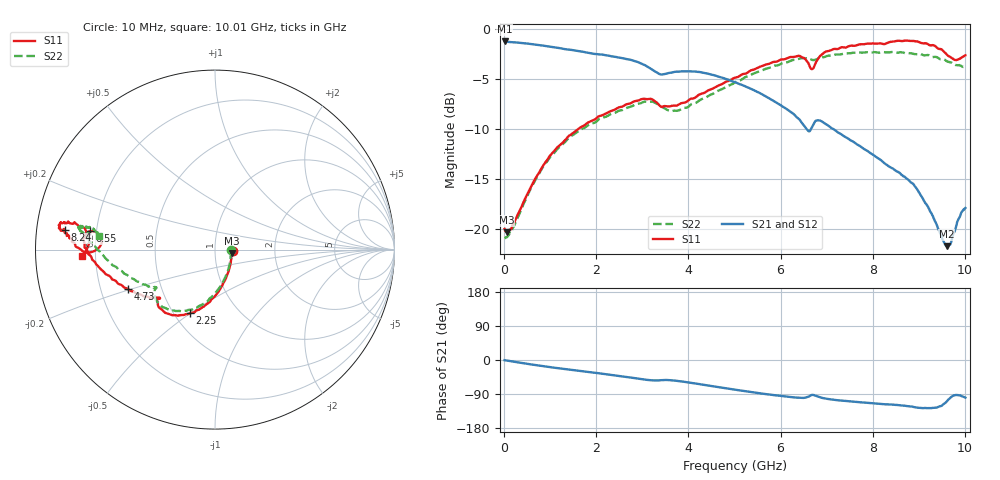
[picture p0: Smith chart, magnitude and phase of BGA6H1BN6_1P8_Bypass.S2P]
!Agilent Technologies,E5071C,MY46317100,A.11.08
!Date: Wed Jun 03 12:55:24 2015
!Data & Calibration Information:
!Freq	S11:SOLT2(ON)	S21:SOLT2(ON)	S12:SOLT2(ON)	S22:SOLT2(ON)
!PortZ  Port1:50+j0  Port2:50+j0
!Above PortZ is port z conversion or system Z0 setting when saving the data.
!When reading, reference impedance value at option line is always used.
# Hz S RI R 50
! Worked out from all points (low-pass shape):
!   1001 points, 10 MHz to 10.01 GHz, reference 50 ohm
!   highest |S21| = -1.20 dB at 10 MHz (marker M1); lowest = -21.8 dB at 9.6 GHz (marker M2)
!   |S21| within 3 dB of the highest: start of sweep to 3.266 GHz
!   lowest |S11| = -20.4 dB at 60 MHz (marker M3), VSWR 1.21, Z = 60.3 - j2.23 ohm
!   |S11| at or under -10 dB: start of sweep to 1.607 GHz
!   |S22| runs from -21.0 to -2.3 dB; largest |S21 - S12| = 0.0088
!   S11 on the Smith chart (normalised r, x): 10 MHz: 1.22, -0.02; 2.25 GHz: 0.60, -0.50; 4.73 GHz: 0.32, -0.20; 6.55 GHz: 0.18, +0.07; 8.24 GHz: 0.08, +0.06; 10.01 GHz: 0.15, -0.02
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1e7  0.0993 -0.00636  0.8712 -0.00627  0.8674 -0.00448  0.0893 -0.00374
6e7  0.0938 -0.0183  0.8665 -0.0218  0.8653 -0.0203  0.089 -0.0156
8.6e8  0.0367 -0.2058  0.7942 -0.2358  0.7945 -0.2341  0.0306 -0.2038
1.68e9  -0.0636 -0.3181  0.6736 -0.3818  0.6746 -0.3794  -0.073 -0.3076
2.25e9  -0.1417 -0.3551  0.5826 -0.4562  0.5842 -0.4536  -0.1497 -0.3364
2.9e9  -0.2497 -0.3611  0.4492 -0.5189  0.4513 -0.5161  -0.2581 -0.3346
3.35e9  -0.3188 -0.2741  0.3542 -0.4849  0.3573 -0.4824  -0.3367 -0.2491
3.77e9  -0.3207 -0.2669  0.3483 -0.5049  0.3517 -0.5016  -0.33 -0.2101
4.73e9  -0.4843 -0.2198  0.1663 -0.5486  0.1709 -0.5467  -0.4785 -0.15
5.01e9  -0.5401 -0.1896  0.1107 -0.5321  0.1165 -0.5303  -0.5301 -0.1154
6.19e9  -0.725 0.01  -0.0494 -0.3865  -0.0449 -0.3856  -0.6906 0.0399
6.55e9  -0.6952 0.1027  -0.0487 -0.3153  -0.0462 -0.3157  -0.7116 0.0876
6.68e9  -0.6306 0.041  -0.0121 -0.3226  -0.00802 -0.3242  -0.6978 0.0907
6.81e9  -0.7105 -0.0171  -0.0386 -0.3474  -0.0358 -0.3479  -0.7089 0.081
7.13e9  -0.7936 0.042  -0.0794 -0.3073  -0.0754 -0.3073  -0.7334 0.0946
8.24e9  -0.8374 0.1081  -0.0962 -0.191  -0.0927 -0.1925  -0.76 0.1224
8.35e9  -0.8565 0.1046  -0.0938 -0.1824  -0.0904 -0.1837  -0.7568 0.1259
8.92e9  -0.8596 0.1516  -0.0929 -0.133  -0.0901 -0.1342  -0.7397 0.1273
9.33e9  -0.816 0.1526  -0.0658 -0.0902  -0.0632 -0.0915  -0.7167 0.1289
9.6e9  -0.7404 0.1258  -0.0279 -0.0766  -0.0256 -0.0788  -0.6849 0.1162
9.8e9  -0.7005 0.0476  -0.00409 -0.1007  -0.00238 -0.1024  -0.6548 0.0966
1.001e10  -0.7411 -0.0355  -0.0206 -0.1252  -0.0188 -0.1263  -0.6466 0.0743
